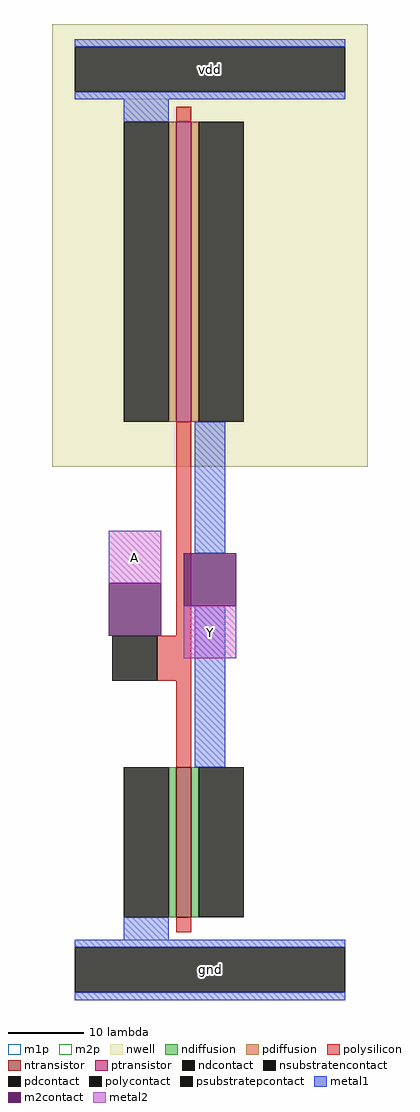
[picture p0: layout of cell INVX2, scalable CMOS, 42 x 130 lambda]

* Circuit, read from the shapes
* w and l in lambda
.subckt INVX2 A Y vdd gnd
M1 Y A gnd gnd nfet w=20 l=2
M2 Y A vdd vdd pfet w=40 l=2
.ends

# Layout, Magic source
magic
tech scmos
magscale 1 2
<< nwell >>
rect -12 134 72 252
<< ntransistor >>
rect 21 14 25 54
<< ptransistor >>
rect 21 146 25 226
<< ndiffusion >>
rect 19 14 21 54
rect 25 14 27 54
<< pdiffusion >>
rect 19 146 21 226
rect 25 146 27 226
<< ndcontact >>
rect 7 14 19 54
rect 27 14 39 54
<< pdcontact >>
rect 7 146 19 226
rect 27 146 39 226
<< psubstratepcontact >>
rect -6 -6 66 6
<< nsubstratencontact >>
rect -6 234 66 246
<< polysilicon >>
rect 21 226 25 230
rect 21 89 25 146
rect 16 77 25 89
rect 21 54 25 77
rect 21 10 25 14
<< polycontact >>
rect 4 77 16 89
<< metal1 >>
rect -6 246 66 248
rect -6 232 66 234
rect 7 226 19 232
rect 26 111 34 146
rect 26 54 34 97
rect 7 8 19 14
rect -6 6 66 8
rect -6 -8 66 -6
<< m2contact >>
rect 3 89 17 103
rect 23 97 37 111
<< metal2 >>
rect 3 103 17 117
rect 23 83 37 97
<< m1p >>
rect -6 232 66 248
rect -6 -8 66 8
<< m2p >>
rect 3 103 17 117
rect 23 83 37 97
<< labels >>
rlabel metal1 -6 -8 66 8 0 gnd
port 3 nsew ground bidirectional abutment
rlabel metal1 -6 232 66 248 0 vdd
port 2 nsew power bidirectional abutment
rlabel metal2 3 103 17 117 0 A
port 0 nsew signal input
rlabel metal2 23 83 37 97 0 Y
port 1 nsew signal output
<< properties >>
string FIXED_BBOX 0 0 60 240
string LEFclass CORE
string LEFsite core
string LEFsymmetry X Y
<< end >>
